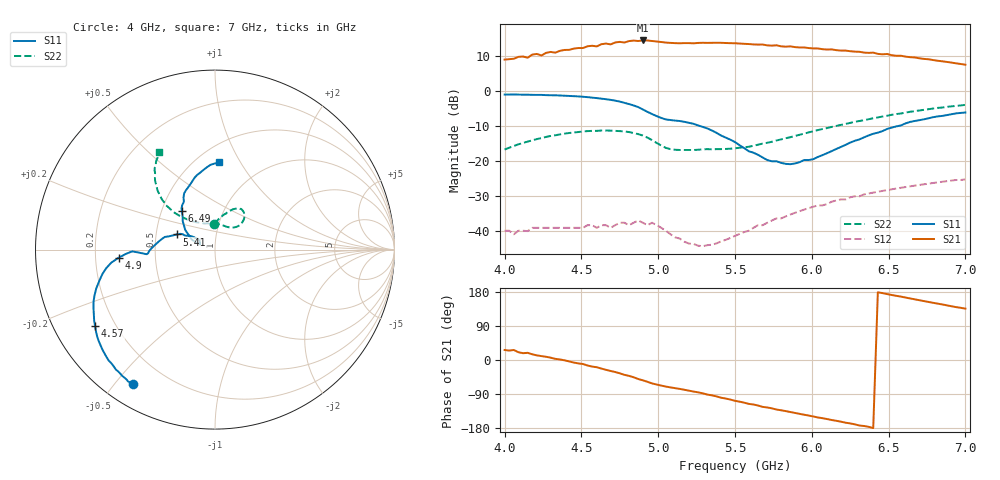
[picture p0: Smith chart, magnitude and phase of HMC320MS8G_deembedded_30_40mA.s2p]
!Hittite Microwave Corporation
!12 Elizabeth Drive
!Chelmsford, MA 01824
!Tel: 978-250-3343
!Fax: 978-250-3373
!Device: HMC320MS8G, 5-6 GHz LNA in 8-lead Grounded Base Surface Mount Plastic Package
!Misc: Room Temp Idd=40mA, VSET=3V , DEEMBEDDED TO THE PINS OF THE DEVICE
# MHZ S MA R 50
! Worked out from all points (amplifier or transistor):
!   101 points, 4 GHz to 7 GHz, reference 50 ohm
!   highest |S21| = 14.3 dB at 4.9 GHz (marker M1)
!   |S21| within 3 dB of that: 4.358 GHz to 6.238 GHz (1.88 GHz wide, 35.5 % of centre)
!   unconditionally stable (mu >= 1): start of sweep to end of sweep
!   at 4.48 GHz: K = 3.59, MAG = 17.2 dB, |S12| = -39.2 dB
!   at 5.5 GHz: K = 11.82, MAG = 13.8 dB, |S12| = -41.5 dB
!   at 7 GHz: K = 2.12, MAG = 10.4 dB, |S12| = -25.4 dB
!   S11 on the Smith chart (normalised r, x): 4 GHz: 0.09, -0.56; 4.57 GHz: 0.13, -0.29; 4.9 GHz: 0.30, -0.04; 5.41 GHz: 0.64, +0.11; 6.49 GHz: 0.63, +0.30; 7 GHz: 0.64, +0.82
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4000  0.876 -121.4  2.767 26.4  0.01 134.4  0.144 91.8
4060  0.88 -123.4  2.845 26.4  0.008904 123.0  0.162 85.5
4120  0.874 -125.1  3.061 18.0  0.01 133.2  0.179 81.0
4150  0.873 -126.3  2.942 18.9  0.009876 118.1  0.187 78.9
4180  0.869 -127.5  3.259 15.0  0.011 132.2  0.195 77.1
4240  0.867 -129.6  3.163 10.3  0.011 113.1  0.21 73.0
4270  0.861 -131.0  3.454 8.5  0.011 126.3  0.218 71.9
4510  0.816 -143.6  4.045 -10.5  0.011 116.0  0.261 62.0
4570  0.793 -147.4  4.359 -17.4  0.012 108.4  0.266 59.7
4600  0.781 -149.5  4.268 -19.1  0.011 103.3  0.266 58.7
4750  0.696 -161.9  4.952 -35.1  0.013 91.1  0.264 53.0
4900  0.537 -175.3  5.188 -53.6  0.013 59.6  0.228 45.9
5020  0.407 -177.1  4.927 -67.5  0.011 16.5  0.164 49.1
5410  0.228 158.2  4.802 -99.6  0.007053 -68.8  0.146 94.4
5500  0.184 154.9  4.734 -107.7  0.008448 -73.2  0.15 103.8
5770  0.098 152.6  4.425 -130.7  0.015 -92.6  0.194 126.6
6010  0.105 158.2  3.996 -149.0  0.022 -105.3  0.263 135.7
6220  0.168 150.8  3.721 -165.4  0.028 -115.3  0.334 137.8
6490  0.283 130.8  3.327 174.0  0.038 -129.3  0.437 135.1
6520  0.296 129.0  3.199 171.6  0.039 -130.5  0.451 134.6
6760  0.402 108.3  2.796 153.2  0.047 -142.7  0.542 128.0
7000  0.486 87.2  2.338 135.5  0.054 -154.3  0.625 119.7
